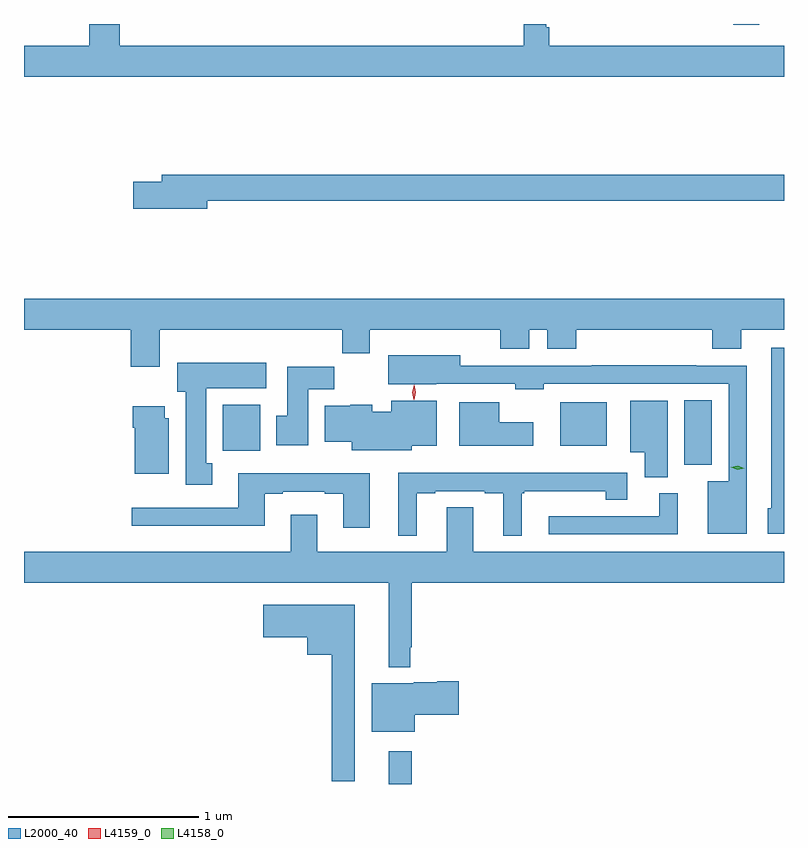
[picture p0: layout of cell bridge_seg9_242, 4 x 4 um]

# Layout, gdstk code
import gdstk
lib = gdstk.Library(unit=1e-6, precision=1e-09)
def R(c, l, rs):  # rectangles x0, y0, x1, y1
    for r in rs: c.add(gdstk.rectangle(r[:2], r[2:], *l))
def P(c, l, *ps):  # polygons
    for p in ps: c.add(gdstk.Polygon(p, *l))
L2000_40 = (2000, 40)
L4158_0 = (4158, 0)
L4159_0 = (4159, 0)

bridge_seg9_242 = lib.new_cell('bridge_seg9_242')
R(bridge_seg9_242, L2000_40, [(337.619,1166.058,337.741,1166.23), (339.176,1167.737,339.319,1168.079), (336.746,1167.812,336.943,1168.054), (338.522,1167.839,338.767,1168.066), (339.433,1170.054,339.569,1170.058)])
P(bridge_seg9_242, L2000_40, [(339.7,1169.944),(338.465,1169.944),(338.465,1170.04),(338.448,1170.04),(338.448,1170.058),(338.329,1170.058),(338.329,1169.944),(336.203,1169.944),(336.203,1170.058),(336.043,1170.058),(336.043,1169.944),(335.7,1169.944),(335.7,1169.78),(339.7,1169.78)],
  [(336.664,1169.128),(339.7,1169.128),(339.7,1169.264),(336.425,1169.264),(336.425,1169.228),(336.276,1169.228),(336.276,1169.086),(336.664,1169.086)],
  [(336.415,1168.448),(337.375,1168.448),(337.375,1168.324),(337.519,1168.324),(337.519,1168.448),(338.207,1168.448),(338.207,1168.349),(338.359,1168.349),(338.359,1168.448),(338.453,1168.448),(338.453,1168.349),(338.606,1168.349),(338.606,1168.448),(339.323,1168.448),(339.323,1168.349),(339.475,1168.349),(339.475,1168.448),(339.7,1168.448),(339.7,1168.612),(335.7,1168.612),(335.7,1168.448),(336.263,1168.448),(336.263,1168.254),(336.415,1168.254)],
  [(339.7,1168.354),(339.632,1168.354),(339.632,1167.51),(339.614,1167.51),(339.614,1167.374),(339.7,1167.374)],
  [(339.504,1168.26),(339.239,1168.26),(339.239,1168.262),(338.689,1168.262),(338.689,1168.26),(337.996,1168.26),(337.996,1168.315),(337.616,1168.315),(337.616,1168.163),(337.869,1168.163),(337.869,1168.164),(338.286,1168.164),(338.286,1168.136),(338.436,1168.136),(338.436,1168.164),(339.408,1168.164),(339.408,1167.652),(339.299,1167.652),(339.299,1167.374),(339.504,1167.374)],
  [(336.691,1167.746),(336.658,1167.746),(336.658,1168.142),(336.976,1168.142),(336.976,1168.276),(336.506,1168.276),(336.506,1168.122),(336.551,1168.122),(336.551,1167.633),(336.691,1167.633)],
  [(337.195,1168.136),(337.334,1168.136),(337.334,1168.255),(337.085,1168.255),(337.085,1167.996),(337.028,1167.996),(337.028,1167.84),(337.195,1167.84)],
  [(339.088,1168.075),(338.891,1168.075),(338.891,1167.803),(338.966,1167.803),(338.966,1167.673),(339.088,1167.673)],
  [(337.74,1167.839),(337.873,1167.839),(337.873,1168.075),(337.634,1168.075),(337.634,1168.018),(337.534,1168.018),(337.534,1168.054),(337.416,1168.054),(337.416,1168.048),(337.283,1168.048),(337.283,1167.86),(337.424,1167.86),(337.424,1167.815),(337.74,1167.815)],
  [(338.38,1167.961),(338.2,1167.961),(338.2,1168.066),(337.991,1168.066),(337.991,1167.839),(338.38,1167.839)],
  [(336.463,1167.984),(336.442,1167.984),(336.442,1168.045),(336.272,1168.045),(336.272,1167.932),(336.284,1167.932),(336.284,1167.692),(336.463,1167.692)],
  [(337.768,1167.588),(337.864,1167.588),(337.864,1167.6),(338.126,1167.6),(338.126,1167.588),(338.222,1167.588),(338.222,1167.365),(338.32,1167.365),(338.32,1167.588),(338.332,1167.588),(338.332,1167.599),(338.762,1167.599),(338.762,1167.553),(338.875,1167.553),(338.875,1167.697),(337.67,1167.697),(337.67,1167.365),(337.768,1167.365)],
  [(337.519,1167.694),(336.827,1167.694),(336.827,1167.513),(336.267,1167.513),(336.267,1167.416),(336.967,1167.416),(336.967,1167.585),(337.063,1167.585),(337.063,1167.597),(337.283,1167.597),(337.283,1167.585),(337.379,1167.585),(337.379,1167.408),(337.519,1167.408)],
  [(339.142,1167.588),(339.044,1167.588),(339.044,1167.468),(338.463,1167.468),(338.463,1167.372),(339.142,1167.372)],
  [(337.733,1166.779),(337.741,1166.779),(337.741,1167.116),(339.7,1167.116),(339.7,1167.28),(338.065,1167.28),(338.065,1167.515),(337.925,1167.515),(337.925,1167.28),(337.243,1167.28),(337.243,1167.475),(337.103,1167.475),(337.103,1167.28),(335.7,1167.28),(335.7,1167.116),(337.619,1167.116),(337.619,1166.672),(337.733,1166.672)],
  [(337.441,1167.001),(336.96,1167.001),(336.96,1166.831),(337.19,1166.831),(337.19,1166.738),(337.32,1166.738),(337.32,1166.073),(337.441,1166.073)],
  [(337.756,1166.422),(337.987,1166.422),(337.987,1166.6),(337.874,1166.6),(337.874,1166.593),(337.752,1166.593),(337.752,1166.587),(337.529,1166.587),(337.529,1166.333),(337.756,1166.333)])
P(bridge_seg9_242, L4158_0, [(339.456,1167.713),(339.421,1167.724),(339.421,1167.724),(339.421,1167.724),(339.457,1167.732),(339.492,1167.721),(339.492,1167.721),(339.492,1167.721)])
P(bridge_seg9_242, L4159_0, [(337.752,1168.08),(337.743,1168.12),(337.754,1168.16),(337.754,1168.16),(337.754,1168.16),(337.763,1168.12),(337.753,1168.08),(337.753,1168.08)])

lib.write_gds('bridge_seg9_242.gds')
